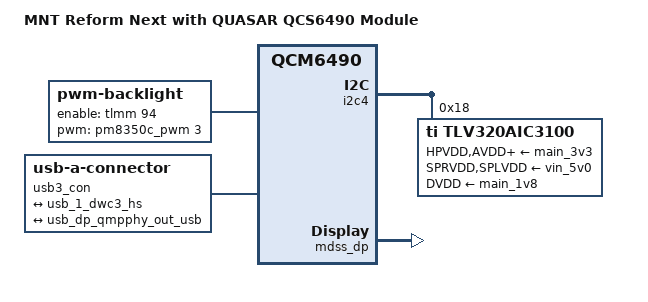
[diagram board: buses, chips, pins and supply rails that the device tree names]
// SPDX-License-Identifier: BSD-3-Clause
/*
 * Copyright (c) 2026, Linaro Ltd.
 * Copyright (c) 2026, MNT Research GmbH
 */

#include <dt-bindings/gpio/gpio.h>

#include "qcs6490-mnt-quasar.dtsi"

/ {
	model = "MNT Reform Next with QUASAR QCS6490 Module";
	compatible = "mntre,reform-next-qcs6490", "mntre,quasar-qcs6490", "qcom,qcm6490";
	chassis-type = "laptop";

	backlight: backlight {
		compatible = "pwm-backlight";
		pwms = <&pm8350c_pwm 3 50000 0>;
		enable-gpios = <&tlmm 94 GPIO_ACTIVE_HIGH>;
		brightness-levels = <0 1000>;
		default-brightness-level = <50>;
		num-interpolated-steps = <100>;
		pinctrl-0 = <&backlight_enable>;
		pinctrl-names = "default";
		status = "okay";
	};

	/* TODO not accurate, dummy port for qmpphy's USB portion */
	usb3_con: usb3_con {
		compatible = "usb-a-connector";

		ports {
			#address-cells = <1>;
			#size-cells = <0>;

			port@0 {
				reg = <0>;

				usb3_con_hs_in: endpoint {
					remote-endpoint = <&usb_1_dwc3_hs>;
				};
			};

			port@1 {
				reg = <1>;

				usb3_con_ss_in: endpoint {
					remote-endpoint = <&usb_dp_qmpphy_out_usb>;
				};
			};
		};
	};
};

&dp_hot_plug_det {
	bias-disable;
};

&i2c4 {
	tlv320aic3100: codec@18 {
		compatible = "ti,tlv320aic3100";
		reg = <0x18>;
		ai31xx-micbias-vg = <2>;
		#sound-dai-cells = <0>;

		HPVDD-supply = <&main_3v3>;
		SPRVDD-supply = <&vin_5v0>;
		SPLVDD-supply = <&vin_5v0>;
		AVDD-supply = <&main_3v3>;
		IOVDD-supply = <&main_3v3>;
		DVDD-supply = <&main_1v8>;

		status = "okay";
	};
};

&mdss_dp {
	status = "okay";

	aux-bus {
		panel: panel {
			compatible = "innolux,n125hce-gn1";
			// compatible = "edp-panel";
			power-supply = <&main_3v3>;
			backlight = <&backlight>;
			// FIXME: not wired up, fixed in V2 PCB
			// hpd-gpios = <&tlmm 47 GPIO_ACTIVE_HIGH>;
			no-hpd;

			status = "okay";

			port {
				panel_dp_in: endpoint {
					remote-endpoint = <&usb_dp_qmpphy_out_dp>;
				};
			};
		};
	};
};

&mdss_dp_out {
	data-lanes = <0 1>;
	link-frequencies = /bits/ 64 <1620000000 2700000000 5400000000>;
	remote-endpoint = <&usb_dp_qmpphy_dp_in>;
	pinctrl-names = "default";
	pinctrl-0 = <&dp_hot_plug_det>;
	status = "okay";
};

&sound {
	model = "QCS6490-MNT-Pocket";
};

&sound_primary_codec {
	sound-dai = <&tlv320aic3100>;
};

&tlmm {
};

&usb_1_dwc3_hs {
	remote-endpoint = <&usb3_con_hs_in>;
};

&usb_1_qmpphy {
	ports {
		port@0 {
			#address-cells = <1>;
			#size-cells = <0>;

			/delete-node/ endpoint;

			usb_dp_qmpphy_out_dp: endpoint@0 {
				reg = <0>;

				data-lanes = <3 2>;
				remote-endpoint = <&panel_dp_in>;
			};

			usb_dp_qmpphy_out_usb: endpoint@1 {
				reg = <1>;

				data-lanes = <1 0>;
				remote-endpoint = <&usb3_con_ss_in>;
			};
		};

		/*port@2 {
			// FIXME
			// mdss_dp connection
			status = "disabled";
		};*/
	};
};

